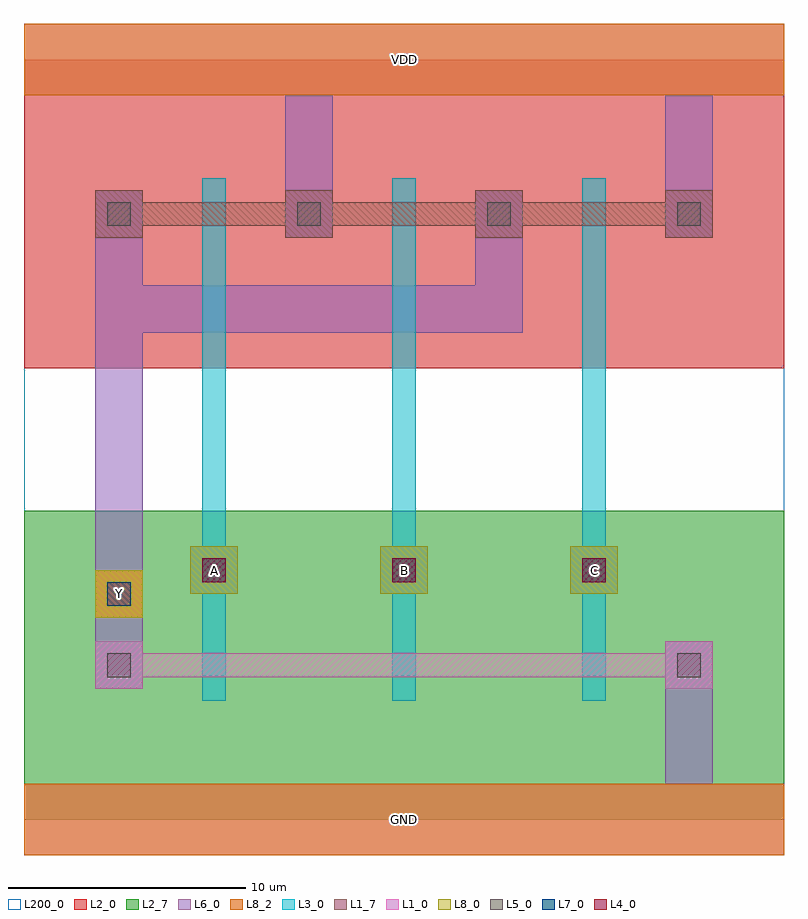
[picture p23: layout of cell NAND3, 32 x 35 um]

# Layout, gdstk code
import gdstk
lib = gdstk.Library(unit=1e-6, precision=1e-09)
def R(c, l, rs):  # rectangles x0, y0, x1, y1
    for r in rs: c.add(gdstk.rectangle(r[:2], r[2:], *l))
def A(c, l, x, y, w, h, nx, ny, dx, dy):  # array of equal rectangles
    R(c, l, [(x+i*dx, y+j*dy, x+i*dx+w, y+j*dy+h) for i in range(nx) for j in range(ny)])
def P(c, l, *ps):  # polygons
    for p in ps: c.add(gdstk.Polygon(p, *l))
L1_0 = (1, 0)
L1_7 = (1, 7)
L2_0 = (2, 0)
L2_7 = (2, 7)
L3_0 = (3, 0)
L4_0 = (4, 0)
L5_0 = (5, 0)
L6_0 = (6, 0)
L7_0 = (7, 0)
L8_0 = (8, 0)
L8_2 = (8, 2)
L200_0 = (200, 0)

nand3 = lib.new_cell('NAND3')
P(nand3, L1_0, [(3,5.5),(3,7.5),(5,7.5),(5,7),(27,7),(27,7.5),(29,7.5),(29,5.5),(27,5.5),(27,6),(5,6),(5,5.5)])
P(nand3, L1_7, [(3,24.5),(3,26.5),(5,26.5),(5,26),(11,26),(11,26.5),(13,26.5),(13,26),(19,26),(19,26.5),(21,26.5),(21,26),(27,26),(27,26.5),(29,26.5),(29,24.5),(27,24.5),(27,25),(21,25),(21,24.5),(19,24.5),(19,25),(13,25),(13,24.5),(11,24.5),(11,25),(5,25),(5,24.5)])
R(nand3, L2_0, [(0,19,32,32)])
R(nand3, L2_7, [(0,0,32,13)])
P(nand3, L3_0, [(7.5,5),(7.5,9.5),(7,9.5),(7,11.5),(7.5,11.5),(7.5,27),(8.5,27),(8.5,11.5),(9,11.5),(9,9.5),(8.5,9.5),(8.5,5)],
  [(15.5,5),(15.5,9.5),(15,9.5),(15,11.5),(15.5,11.5),(15.5,27),(16.5,27),(16.5,11.5),(17,11.5),(17,9.5),(16.5,9.5),(16.5,5)],
  [(23.5,5),(23.5,9.5),(23,9.5),(23,11.5),(23.5,11.5),(23.5,27),(24.5,27),(24.5,11.5),(25,11.5),(25,9.5),(24.5,9.5),(24.5,5)])
A(nand3, L4_0, 7.5, 10, 1, 1, 3, 1, 8, 0)
A(nand3, L5_0, 3.5, 25, 1, 1, 4, 1, 8, 0)
R(nand3, L5_0, [(3.5,6,4.5,7), (27.5,6,28.5,7)])
A(nand3, L6_0, 7, 9.5, 2, 2, 3, 1, 8, 0)
P(nand3, L6_0, [(0,-1.5),(0,1.5),(27,1.5),(27,7.5),(29,7.5),(29,1.5),(32,1.5),(32,-1.5)],
  [(3,5.5),(3,26.5),(5,26.5),(5,22.5),(19,22.5),(19,26.5),(21,26.5),(21,20.5),(5,20.5),(5,5.5)],
  [(11,24.5),(11,30.5),(0,30.5),(0,33.5),(32,33.5),(32,30.5),(29,30.5),(29,24.5),(27,24.5),(27,30.5),(13,30.5),(13,24.5)])
A(nand3, L7_0, 7.5, 10, 1, 1, 3, 1, 8, 0)
R(nand3, L7_0, [(3.5,9,4.5,10)])
A(nand3, L8_0, 7, 9.5, 2, 2, 3, 1, 8, 0)
R(nand3, L8_0, [(3,8.5,5,10.5)])
A(nand3, L8_2, 7, 9.5, 2, 2, 3, 1, 8, 0)
R(nand3, L8_2, [(3,8.5,5,10.5)])
R(nand3, L200_0, [(0,0,32,32)])
nand3.add(gdstk.FlexPath([(0,32),(32,32)], 3, ends="flush", simple_path=True, layer=8, datatype=2))  # L8_2
nand3.add(gdstk.FlexPath([(0,0),(32,0)], 3, ends="flush", simple_path=True, layer=8, datatype=2))  # L8_2
nand3.add(gdstk.Label('GND', (16,0), layer=6, texttype=1))
nand3.add(gdstk.Label('VDD', (16,32), layer=6, texttype=1))
nand3.add(gdstk.Label('A', (8,10.5), layer=8, texttype=1))
nand3.add(gdstk.Label('B', (16,10.5), layer=8, texttype=1))
nand3.add(gdstk.Label('C', (24,10.5), layer=8, texttype=1))
nand3.add(gdstk.Label('Y', (4,9.5), layer=8, texttype=1))

lib.write_gds('NAND3.gds')
